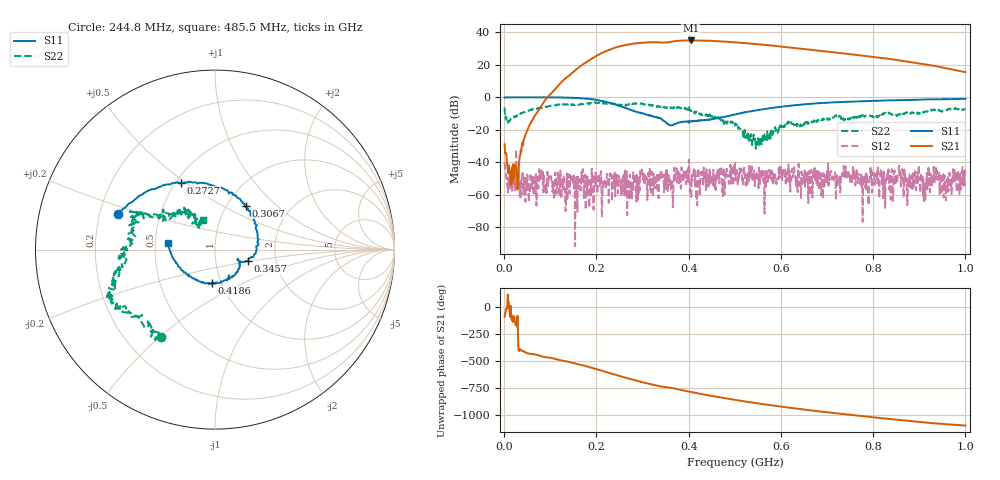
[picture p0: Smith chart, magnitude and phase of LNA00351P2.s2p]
! Created with skrf 1.9.0 (http://scikit-rf.org).
# Hz S RI R 50.0
!freq ReS11 ImS11 ReS21 ImS21 ReS12 ImS12 ReS22 ImS22
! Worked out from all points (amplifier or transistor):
!   1001 points, 1 MHz to 1 GHz, reference 50 ohm
!   highest |S21| = 35.0 dB at 404.6 MHz (marker M1)
!   |S21| within 3 dB of that: 260.2 MHz to 574.3 MHz (314.1 MHz wide, 75.3 % of centre)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
!   unconditionally stable (mu >= 1): 239.8 MHz to 298.6 MHz; 298.8 MHz to 400.4 MHz; 401 MHz to end of sweep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
!   at 166.8 MHz: K = 1.57, MAG = 31.0 dB, |S12| = -51.4 dB
!   at 500.5 MHz: K = 1.19, MAG = 34.6 dB, |S12| = -40.6 dB
!   at 1 GHz: K = 2.94, MAG = 23.8 dB, |S12| = -47.2 dB
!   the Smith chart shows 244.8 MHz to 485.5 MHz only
!   S11 on the Smith chart (normalised r, x): 244.8 MHz: 0.28, +0.16; 272.7 MHz: 0.53, +0.48; 306.7 MHz: 1.22, +0.66; 345.7 MHz: 1.44, -0.19; 418.6 MHz: 0.91, -0.35; 485.5 MHz: 0.58, +0.04
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1000000  0.9817 0.00808  0.00121 -0.0359  0.00238 0.00959  0.3659 0.3142
1.08892e8  0.5102 -0.8538  -0.7708 -1.49  -0.00066 -0.000318  0.4368 -0.3444
1.67833e8  -0.257 -0.8944  -9.667 -0.6623  0.00427 -0.00241  0.0564 -0.6305
2.1079e8  -0.6952 -0.3461  -15.5 16.68  0.00241 0.000222  -0.2107 -0.6414
2.44756e8  -0.5426 0.1975  0.4214 35.28  -0.0041 -0.000873  -0.301 -0.489
2.72728e8  -0.1884 0.3712  24.66 35.69  -0.0038 -0.0018  -0.5022 -0.3134
3.06694e8  0.171 0.2452  46.62 14.13  0.00151 0.00377  -0.5513 -0.1613
3.34666e8  0.2315 0.00764  48.54 -8.703  0.000764 -0.000118  -0.5292 -0.0512
3.45655e8  0.1834 -0.0626  45.96 -15.39  0.000173 0.00411  -0.4996 0.00597
3.72628e8  0.1387 -0.0729  43.22 -32.37  -0.00109 0.00494  -0.4647 0.1546
4.04596e8  0.0533 -0.1718  22.76 -51.4  -0.000737 0.00139  -0.3405 0.1945
4.18582e8  -0.0155 -0.1862  11.76 -54.39  0.000411 0.00023  -0.2666 0.2017
4.49551e8  -0.1625 -0.1322  -11.67 -52.9  0.00261 0.000159  -0.1491 0.2145
4.85515e8  -0.2619 0.0349  -31.81 -39.76  0.00333 0.00249  -0.0675 0.1642
5.005e8  -0.2714 0.1215  -37.53 -32.07  0.00889 -0.00287  -0.0803 0.1077
5.4046e8  -0.203 0.3253  -42.9 -10.61  0.00394 -0.00107  -0.0306 0.0462
5.88412e8  -0.000551 0.4875  -36.62 10.28  0.00108 -0.00254  -0.0842 -0.0691
6.67333e8  0.3849 0.5033  -14.96 24.29  0.000623 -0.00331  -0.1715 -0.0586
7.55245e8  0.679 0.2897  3.657 20.4  -0.00345 -0.000952  -0.2423 -0.00944
8.34166e8  0.8011 0.0308  10.99 10.6  -0.00175 0.00313  -0.3161 -0.0276
9.18082e8  0.8207 -0.2669  9.857 1.388  0.00131 0.000714  -0.3606 0.0929
1e9  0.7344 -0.514  5.709 -1.734  -0.0041 -0.00145  -0.3709 0.2293
